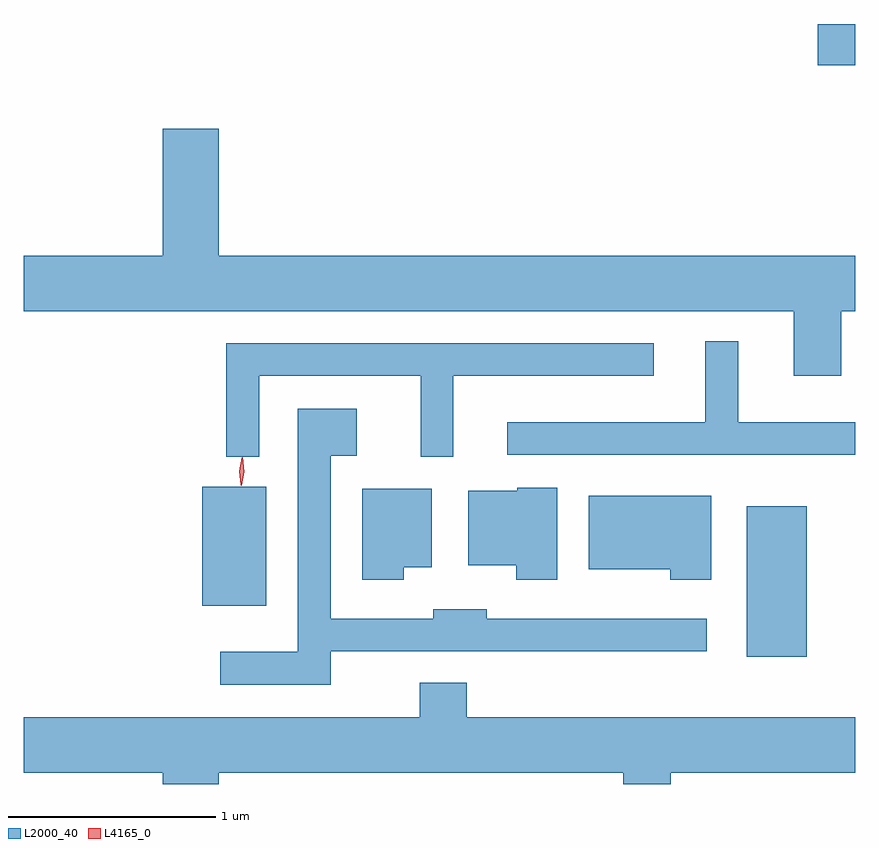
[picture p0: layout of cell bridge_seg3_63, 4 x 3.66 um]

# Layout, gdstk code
import gdstk
lib = gdstk.Library(unit=1e-6, precision=1e-09)
def R(c, l, rs):  # rectangles x0, y0, x1, y1
    for r in rs: c.add(gdstk.rectangle(r[:2], r[2:], *l))
def P(c, l, *ps):  # polygons
    for p in ps: c.add(gdstk.Polygon(p, *l))
L2000_40 = (2000, 40)
L4165_0 = (4165, 0)

bridge_seg3_63 = lib.new_cell('bridge_seg3_63')
R(bridge_seg3_63, L2000_40, [(1116.986,1219.816,1117.274,1220.539), (1114.366,1220.061,1114.674,1220.634), (1117.326,1222.661,1117.507,1222.859)])
P(bridge_seg3_63, L2000_40, [(1117.439,1221.476),(1117.507,1221.476),(1117.507,1221.744),(1114.444,1221.744),(1114.444,1222.354),(1114.176,1222.354),(1114.176,1221.744),(1113.507,1221.744),(1113.507,1221.476),(1117.211,1221.476),(1117.211,1221.166),(1117.439,1221.166)],
  [(1117.507,1220.944),(1116.944,1220.944),(1116.944,1221.333),(1116.786,1221.333),(1116.786,1220.944),(1115.833,1220.944),(1115.833,1220.786),(1117.507,1220.786)],
  [(1114.639,1221.166),(1115.416,1221.166),(1115.416,1220.778),(1115.574,1220.778),(1115.574,1221.166),(1116.538,1221.166),(1116.538,1221.324),(1114.481,1221.324),(1114.481,1220.778),(1114.639,1220.778)],
  [(1114.984,1219.841),(1116.793,1219.841),(1116.793,1219.999),(1115.734,1219.999),(1115.734,1220.044),(1115.476,1220.044),(1115.476,1219.999),(1114.984,1219.999),(1114.984,1220.781),(1115.109,1220.781),(1115.109,1221.009),(1114.826,1221.009),(1114.826,1219.839),(1114.453,1219.839),(1114.453,1219.681),(1114.984,1219.681)],
  [(1116.074,1220.629),(1115.88,1220.629),(1115.88,1220.614),(1115.646,1220.614),(1115.646,1220.256),(1115.876,1220.256),(1115.876,1220.186),(1116.074,1220.186)],
  [(1115.334,1220.246),(1115.469,1220.246),(1115.469,1220.624),(1115.136,1220.624),(1115.136,1220.186),(1115.334,1220.186)],
  [(1116.814,1220.589),(1116.226,1220.589),(1116.226,1220.236),(1116.616,1220.236),(1116.616,1220.186),(1116.814,1220.186)],
  [(1114.444,1219.256),(1116.391,1219.256),(1116.391,1219.203),(1116.619,1219.203),(1116.619,1219.256),(1117.507,1219.256),(1117.507,1219.524),(1115.639,1219.524),(1115.639,1219.689),(1115.411,1219.689),(1115.411,1219.524),(1113.507,1219.524),(1113.507,1219.256),(1114.176,1219.256),(1114.176,1219.203),(1114.444,1219.203)])
P(bridge_seg3_63, L4165_0, [(1114.554,1220.638),(1114.554,1220.639),(1114.547,1220.707),(1114.56,1220.775),(1114.56,1220.775),(1114.56,1220.775),(1114.567,1220.706),(1114.555,1220.639)],
  [(1114.551,1220.641),(1114.55,1220.642),(1114.544,1220.707),(1114.556,1220.772),(1114.556,1220.772),(1114.557,1220.772),(1114.563,1220.706),(1114.552,1220.642)])

lib.write_gds('bridge_seg3_63.gds')
